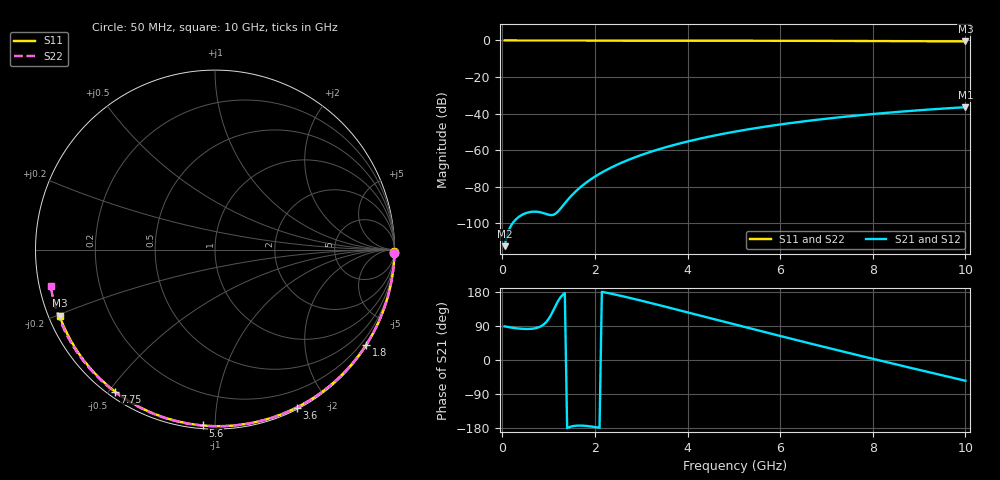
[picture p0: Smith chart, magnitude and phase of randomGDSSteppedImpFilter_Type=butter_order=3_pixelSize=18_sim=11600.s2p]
! freq	dB(S11)	phase(S11)	dB(S12)	phase(S12)
!  dB(S21)	phase(S21)	dB(S22)	phase(S22)
!S-par simulation data
#  GHz  S  DB  R 50
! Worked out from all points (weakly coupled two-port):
!   200 points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, 50 MHz to 10 GHz, reference 50 ohm
!   highest |S21| = -36.52 dB at 10 GHz (marker M1); lowest = -112.6 dB at 50 MHz (marker M2)
!   lowest |S11| = -0.5 dB at 10 GHz (marker M3), VSWR 33.15, Z = 1.57 - j10.2 ohm
!   |S11| at or under -10 dB: nowhere
!   |S22| runs from -0.6 to 0.0 dB; largest |S21 - S12| = 0
!   S11 on the Smith chart (normalised r, x): 50 MHz: open; 1.8 GHz: 0.03, -3.46; 3.6 GHz: 0.02, -1.64; 5.6 GHz: 0.02, -0.93; 7.75 GHz: 0.02, -0.52; 10 GHz: 0.03, -0.20
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0.05  -0.00 -0.9  -112.56 88.8  -112.56 88.8  -0.00 -1.0
0.45  -0.01 -8.2  -95.11 82.2  -95.11 82.2  -0.01 -8.7
0.85  -0.02 -15.4  -94.19 90.1  -94.19 90.1  -0.02 -16.4
1.25  -0.03 -22.5  -92.24 164.2  -92.24 164.2  -0.03 -24.0
1.7  -0.04 -30.5  -80.01 -173.1  -80.01 -173.1  -0.04 -32.5
1.75  -0.04 -31.3  -78.98 -173.3  -78.98 -173.3  -0.04 -33.4
1.8  -0.04 -32.2  -78.00 -173.8  -78.00 -173.8  -0.04 -34.4
2.1  -0.05 -37.4  -72.96 -178.9  -72.96 -178.9  -0.05 -39.9
2.3  -0.05 -40.9  -70.19 176.3  -70.19 176.3  -0.06 -43.6
2.5  -0.06 -44.3  -67.75 171.0  -67.75 171.0  -0.06 -47.3
2.9  -0.07 -51.1  -63.59 159.6  -63.59 159.6  -0.07 -54.5
3.4  -0.08 -59.4  -59.38 144.4  -59.38 144.4  -0.08 -63.3
3.6  -0.08 -62.7  -57.91 138.2  -57.91 138.2  -0.09 -66.8
4.3  -0.11 -74.0  -53.53 116.4  -53.53 116.4  -0.11 -78.7
5.05  -0.13 -85.7  -49.76 92.9  -49.76 92.9  -0.14 -91.1
5.6  -0.16 -94.0  -47.46 75.8  -47.46 75.8  -0.17 -99.9
6.15  -0.18 -102.2  -45.45 58.8  -45.45 58.8  -0.19 -108.6
6.7  -0.21 -110.2  -43.68 42.1  -43.68 42.1  -0.23 -117.0
7.75  -0.29 -125.1  -40.85 10.6  -40.85 10.6  -0.31 -133.0
8.35  -0.34 -133.6  -39.48 -7.1  -39.48 -7.1  -0.36 -142.0
9.2  -0.43 -145.5  -37.82 -31.8  -37.82 -31.8  -0.45 -155.0
10  -0.52 -156.9  -36.52 -54.7  -36.52 -54.7  -0.55 -167.4
